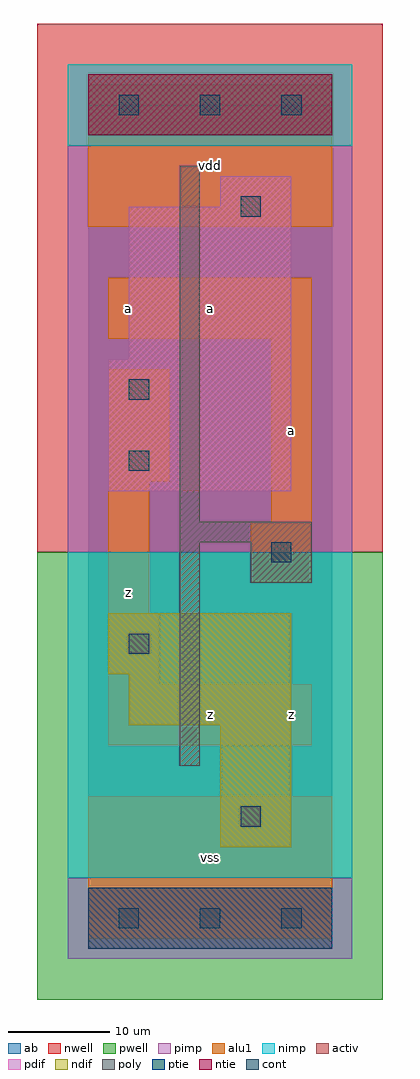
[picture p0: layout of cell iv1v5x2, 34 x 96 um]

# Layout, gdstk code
import gdstk
lib = gdstk.Library(unit=1e-6, precision=1e-09)
def R(c, l, rs):  # rectangles x0, y0, x1, y1
    for r in rs: c.add(gdstk.rectangle(r[:2], r[2:], *l))
def A(c, l, x, y, w, h, nx, ny, dx, dy):  # array of equal rectangles
    R(c, l, [(x+i*dx, y+j*dy, x+i*dx+w, y+j*dy+h) for i in range(nx) for j in range(ny)])
ndif = (3, 0)
pdif = (4, 0)
ntie = (5, 0)
ptie = (6, 0)
cont = (25, 0)
pwell = (41, 0)
nwell = (42, 0)
activ = (43, 0)
pimp = (44, 0)
nimp = (45, 0)
poly = (46, 0)
alu1 = (49, 0)
ab = (63, 0)

iv1v5x2 = lib.new_cell('iv1v5x2')
R(iv1v5x2, ndif, [(13,7,20,19), (4,19,20,24), (2,24,20,30)])
R(iv1v5x2, pdif, [(2,42,20,55), (4,55,20,70), (13,70,20,73)])
R(iv1v5x2, ntie, [(0,77,24,83)])
R(iv1v5x2, ptie, [(0,-3,24,3)])
A(iv1v5x2, cont, 3, -1, 2, 2, 3, 2, 8, 80)
R(iv1v5x2, cont, [(15,9,17,11), (4,26,6,28), (18,35,20,37), (4,44,6,46), (4,51,6,53), (15,69,17,71)])
R(iv1v5x2, pwell, [(-5,-8,29,36)])
R(iv1v5x2, nwell, [(-5,36,29,88)])
R(iv1v5x2, activ, [(0,-3,24,3), (13,7,20,19), (4,19,20,24), (2,24,20,30), (2,42,20,55), (4,55,20,70), (13,70,20,73), (0,77,24,83)])
R(iv1v5x2, pimp, [(-2,-4,26,4), (-2,36,26,76)])
R(iv1v5x2, nimp, [(-2,4,26,36), (-2,76,26,84)])
R(iv1v5x2, poly, [(9,15,11,37), (16,33,22,37), (9,37,22,39), (9,39,11,74)])
R(iv1v5x2, alu1, [(0,-2,24,12), (2,17,22,23), (2,23,7,30), (2,30,6,43), (16,33,22,39), (18,39,22,57), (2,43,8,54), (2,57,22,63), (0,68,24,82)])
R(iv1v5x2, ab, [(0,0,24,80)])
iv1v5x2.add(gdstk.Label('z', (4,32), layer=49, texttype=0))
iv1v5x2.add(gdstk.Label('a', (4,60), layer=49, texttype=0))
iv1v5x2.add(gdstk.Label('vss', (12,6), layer=49, texttype=0))
iv1v5x2.add(gdstk.Label('z', (12,20), layer=49, texttype=0))
iv1v5x2.add(gdstk.Label('a', (12,60), layer=49, texttype=0))
iv1v5x2.add(gdstk.Label('vdd', (12,74), layer=49, texttype=0))
iv1v5x2.add(gdstk.Label('z', (20,20), layer=49, texttype=0))
iv1v5x2.add(gdstk.Label('a', (20,48), layer=49, texttype=0))

lib.write_gds('iv1v5x2.gds')
